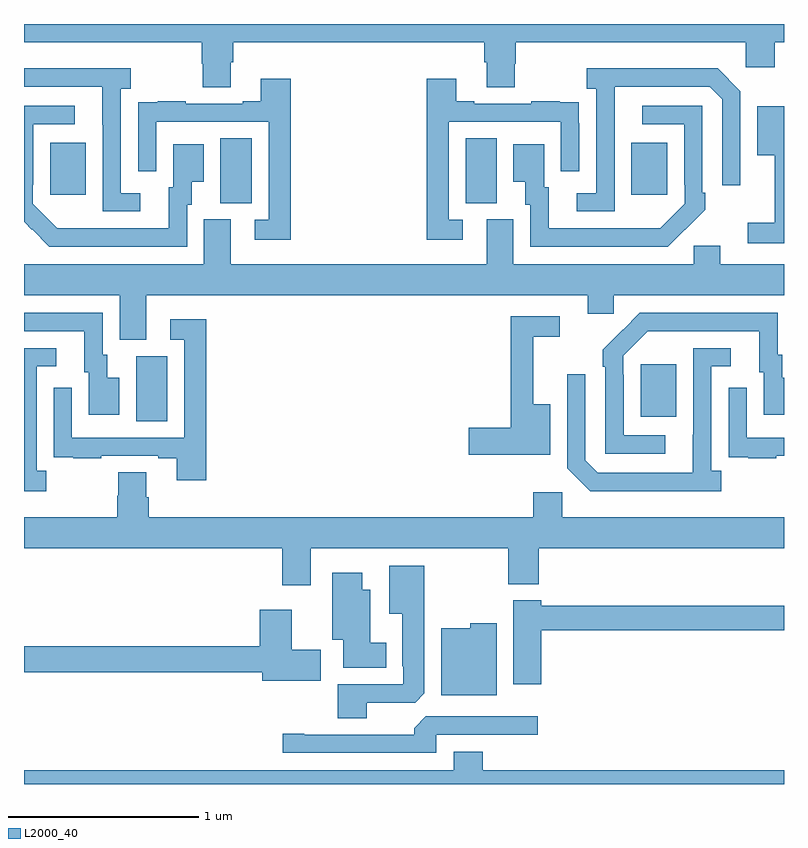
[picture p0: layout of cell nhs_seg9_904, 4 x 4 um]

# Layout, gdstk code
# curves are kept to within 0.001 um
import gdstk
lib = gdstk.Library(unit=1e-6, precision=1e-09)
def R(c, l, rs):  # rectangles x0, y0, x1, y1
    for r in rs: c.add(gdstk.rectangle(r[:2], r[2:], *l))
def P(c, l, *ps):  # polygons
    for p in ps: c.add(gdstk.Polygon(p, *l))
L2000_40 = (2000, 40)

nhs_seg9_904 = lib.new_cell('nhs_seg9_904')
R(nhs_seg9_904, L2000_40, [(159.59,1210.408,159.754,1210.752), (162.245,1210.433,162.433,1210.708), (160.034,1211.557,160.198,1211.9), (161.324,1211.557,161.488,1211.9), (159.137,1211.601,159.325,1211.875), (162.197,1211.601,162.385,1211.875)])
P(nhs_seg9_904, L2000_40, [(160.087,1212.298),(160.1,1212.298),(160.1,1212.404),(161.423,1212.404),(161.423,1212.298),(161.435,1212.298),(161.435,1212.166),(161.583,1212.166),(161.583,1212.291),(161.588,1212.291),(161.588,1212.404),(162.798,1212.404),(162.798,1212.273),(162.95,1212.273),(162.95,1212.404),(163,1212.404),(163,1212.5),(159,1212.5),(159,1212.404),(159.935,1212.404),(159.935,1212.291),(159.94,1212.291),(159.94,1212.166),(160.087,1212.166)],
  [(159.613,1211.61),(159.51,1211.61),(159.51,1212.158),(159.562,1212.158),(159.562,1212.268),(159,1212.268),(159,1212.171),(159.413,1212.171),(159.413,1211.971),(159.414,1211.971),(159.414,1211.514),(159.613,1211.514)],
  [(162.108,1211.971),(162.109,1212.171),(162.609,1212.171),(162.675,1212.105),(162.675,1211.652),(162.771,1211.652),(162.771,1212.147),(162.65,1212.268),(161.961,1212.268),(161.961,1212.158),(162.012,1212.158),(162.012,1211.61),(161.91,1211.61),(161.91,1211.514),(162.108,1211.514)],
  [(160.403,1212.211),(160.247,1212.211),(160.247,1212.094),(160.151,1212.094),(160.151,1212.081),(159.851,1212.081),(159.851,1212.094),(159.703,1212.094),(159.703,1212.087),(159.601,1212.087),(159.601,1211.978),(159.6,1211.978),(159.6,1211.724),(159.696,1211.724),(159.696,1211.985),(160.287,1211.985),(160.287,1211.469),(160.215,1211.469),(160.215,1211.364),(160.403,1211.364)],
  [(161.308,1211.469),(161.235,1211.469),(161.235,1211.985),(161.826,1211.985),(161.826,1211.724),(161.922,1211.724),(161.922,1211.978),(161.921,1211.978),(161.921,1212.087),(161.819,1212.087),(161.819,1212.094),(161.671,1212.094),(161.671,1212.081),(161.371,1212.081),(161.371,1212.094),(161.275,1212.094),(161.275,1212.211),(161.119,1212.211),(161.119,1211.364),(161.308,1211.364)],
  [(159.858,1211.55),(159.883,1211.55),(159.883,1211.669),(159.946,1211.669),(159.946,1211.866),(159.785,1211.866),(159.785,1211.64),(159.761,1211.64),(159.761,1211.424),(159.174,1211.425),(159.045,1211.553),(159.045,1211.653),(159.048,1211.653),(159.048,1211.973),(159.268,1211.973),(159.268,1212.069),(159,1212.069),(159,1211.46),(159.134,1211.328),(159.858,1211.328)],
  [(162.479,1211.419),(162.48,1211.418),(162.585,1211.523),(162.585,1211.611),(162.57,1211.611),(162.57,1212.069),(162.255,1212.069),(162.255,1211.973),(162.474,1211.973),(162.474,1211.653),(162.477,1211.653),(162.477,1211.553),(162.349,1211.425),(161.761,1211.424),(161.761,1211.64),(161.737,1211.64),(161.737,1211.866),(161.576,1211.866),(161.576,1211.669),(161.639,1211.669),(161.639,1211.55),(161.664,1211.55),(161.664,1211.328),(162.388,1211.328)],
  [(163,1212.067),(162.86,1212.067),(162.86,1211.81),(162.95,1211.81),(162.95,1211.455),(162.81,1211.455),(162.81,1211.346),(163,1211.346)],
  [(159.643,1211.072),(161.966,1211.072),(161.966,1210.974),(162.105,1210.974),(162.105,1211.072),(163,1211.072),(163,1211.236),(162.664,1211.236),(162.664,1211.334),(162.525,1211.334),(162.525,1211.236),(161.575,1211.236),(161.575,1211.472),(161.435,1211.472),(161.435,1211.236),(160.087,1211.236),(160.087,1211.472),(159.947,1211.472),(159.947,1211.236),(159,1211.236),(159,1211.072),(159.503,1211.072),(159.503,1210.837),(159.643,1210.837)],
  [(162.376,1210.335),(162.156,1210.335),(162.156,1210.655),(162.153,1210.655),(162.153,1210.755),(162.282,1210.884),(162.869,1210.884),(162.869,1210.668),(162.893,1210.668),(162.893,1210.443),(163,1210.443),(163,1210.639),(162.991,1210.639),(162.991,1210.758),(162.966,1210.758),(162.966,1210.98),(162.242,1210.98),(162.045,1210.785),(162.045,1210.697),(162.06,1210.697),(162.06,1210.239),(162.376,1210.239)],
  [(159.502,1210.639),(159.439,1210.639),(159.439,1210.758),(159.414,1210.758),(159.414,1210.98),(159,1210.98),(159,1210.884),(159.317,1210.884),(159.317,1210.668),(159.341,1210.668),(159.341,1210.443),(159.502,1210.443)],
  [(161.77,1210.498),(161.681,1210.498),(161.681,1210.854),(161.821,1210.854),(161.821,1210.962),(161.563,1210.962),(161.563,1210.376),(161.34,1210.376),(161.34,1210.234),(161.77,1210.234)],
  [(159.959,1210.945),(159.771,1210.945),(159.771,1210.839),(159.843,1210.839),(159.843,1210.323),(159.252,1210.323),(159.252,1210.585),(159.156,1210.585),(159.156,1210.33),(159.157,1210.33),(159.157,1210.221),(159.259,1210.221),(159.259,1210.215),(159.407,1210.215),(159.407,1210.227),(159.707,1210.227),(159.707,1210.215),(159.803,1210.215),(159.803,1210.098),(159.959,1210.098)],
  [(162.67,1210.15),(162.618,1210.15),(162.618,1210.698),(162.721,1210.698),(162.721,1210.794),(162.522,1210.794),(162.521,1210.137),(162.021,1210.137),(161.955,1210.203),(161.955,1210.657),(161.859,1210.657),(161.859,1210.161),(161.98,1210.04),(162.67,1210.04)],
  [(159.118,1210.15),(159.066,1210.15),(159.066,1210.698),(159.169,1210.698),(159.169,1210.794),(159,1210.794),(159,1210.04),(159.118,1210.04)],
  [(162.959,1210.227),(163,1210.227),(163,1210.323),(162.804,1210.323),(162.804,1210.585),(162.708,1210.585),(162.708,1210.33),(162.709,1210.33),(162.709,1210.221),(162.811,1210.221),(162.811,1210.215),(162.959,1210.215)],
  [(160.51,1209.74),(161.548,1209.74),(161.548,1209.551),(161.708,1209.551),(161.708,1209.74),(163,1209.74),(163,1209.904),(161.832,1209.904),(161.832,1210.036),(161.681,1210.036),(161.681,1209.904),(159.656,1209.904),(159.656,1210.01),(159.643,1210.01),(159.643,1210.142),(159.496,1210.142),(159.496,1210.017),(159.491,1210.017),(159.491,1209.904),(159,1209.904),(159,1209.74),(160.358,1209.74),(160.358,1209.546),(160.51,1209.546)],
  [(160.804,1208.928),(161.058,1208.928),(161.107,1208.977),(161.107,1209.649),(160.922,1209.649),(160.922,1209.395),(160.991,1209.395),(160.991,1209.121),(160.995,1209.121),(160.995,1209.024),(160.652,1209.024),(160.652,1208.845),(160.804,1208.845)],
  [(160.906,1209.244),(160.822,1209.244),(160.822,1209.523),(160.78,1209.523),(160.78,1209.613),(160.622,1209.613),(160.622,1209.26),(160.679,1209.26),(160.679,1209.113),(160.906,1209.113)],
  [(161.723,1209.31),(163,1209.31),(163,1209.439),(161.723,1209.439),(161.723,1209.466),(161.576,1209.466),(161.576,1209.024),(161.723,1209.024)],
  [(160.561,1209.207),(160.408,1209.207),(160.408,1209.418),(160.241,1209.418),(160.241,1209.224),(159,1209.224),(159,1209.088),(160.253,1209.088),(160.253,1209.044),(160.561,1209.044)],
  [(161.488,1209.346),(161.349,1209.346),(161.349,1209.319),(161.195,1209.319),(161.195,1208.966),(161.488,1208.966)],
  [(161.169,1208.76),(161.704,1208.76),(161.704,1208.856),(161.115,1208.856),(161.054,1208.794),(161.054,1208.76),(160.474,1208.76),(160.474,1208.765),(160.362,1208.765),(160.362,1208.664),(161.169,1208.664)],
  [(161.261,1208.671),(161.261,1208.572),(159,1208.572),(159,1208.5),(163,1208.5),(163,1208.572),(161.414,1208.572),(161.414,1208.671)])

lib.write_gds('nhs_seg9_904.gds')
